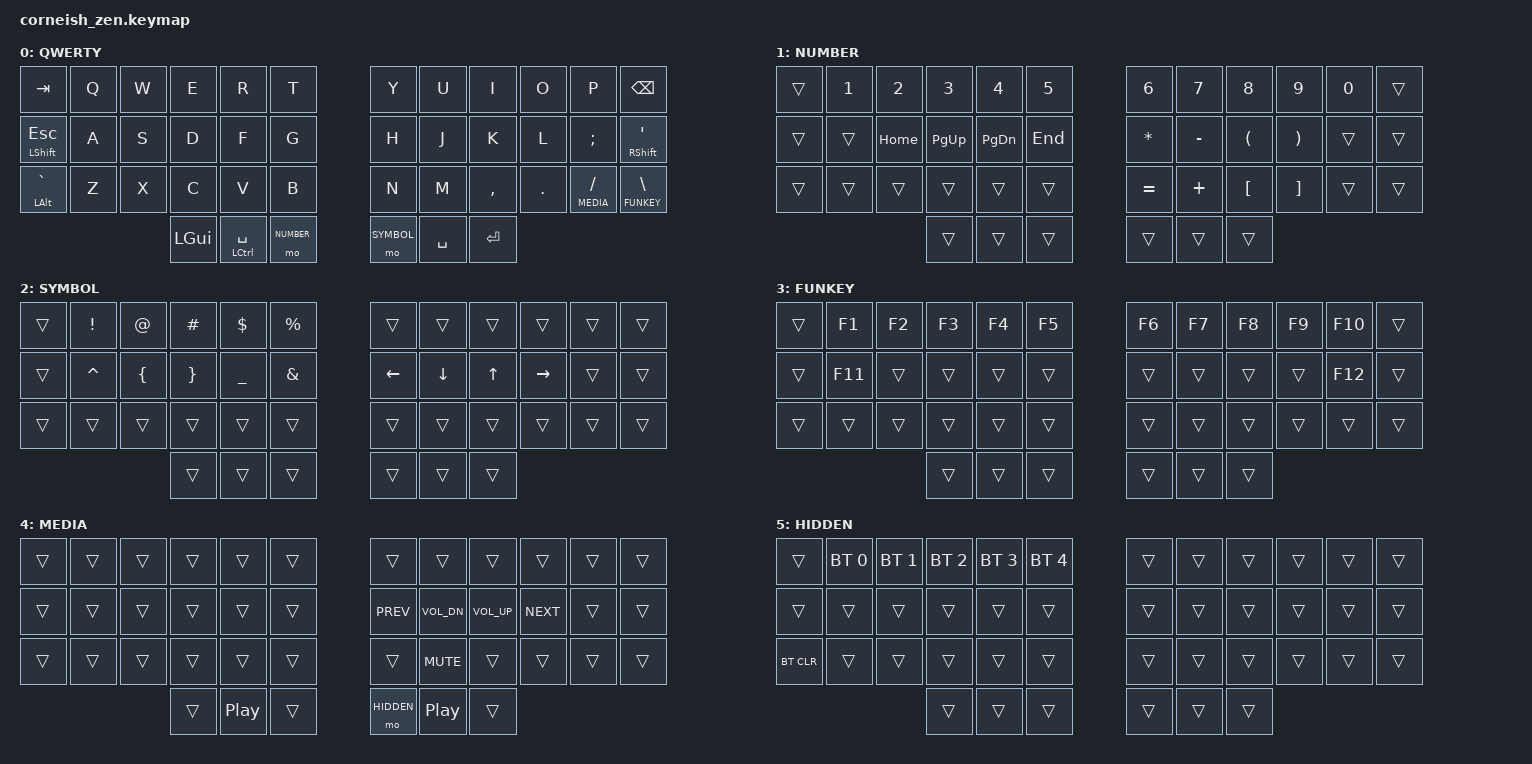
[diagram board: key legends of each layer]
#include <behaviors.dtsi>
#include <dt-bindings/zmk/keys.h>
#include <dt-bindings/zmk/bt.h>

#define QWERTY 0
#define NUMBER 1
#define SYMBOL 2
#define FUNKEY 3
#define MEDIA  4
#define HIDDEN 5

/ {
    chosen {
        zmk,physical-layout = &foostan_corne_6col_layout;
        // zmk,physical-layout = &foostan_corne_5col_layout;
    };
};

/ {
    keymap {
        compatible = "zmk,keymap";

/*
* ┌───────┬───┬───┬───┬───┬───┐       ┌───┬───┬───┬───┬───┬───────┐
* │  Tab  │ Q │ W │ E │ R │ T │       │ Y │ U │ I │ O │ P │  Bsp  │
* ├───────┼───┼───┼───┼───┼───┤       ├───┼───┼───┼───┼───┼───────┤
* │Esc|Sft│ A │ S │ D │ F │ G │       │ H │ J │ K │ L │ ; │ ' |Sft│
* ├───────┼───┼───┼───┼───┼───┤       ├───┼───┼───┼───┼───┼───────┤
* │ ` |Alt│ Z │ X │ C │ V │ B │       │ N │ M │ , │ . │ / │ \ |FUN│
* └───────┴───┴───┴───┴───┴───┘       └───┴───┴───┴───┴───┴───────┘
*             ┌───┬──────┬───┐   ┌───┬───┬───┐
*             │GUI│ |Ctrl│NUM│   │SYM│   │Alt│
*             └───┴──────┴───┘   └───┴───┴───┘
*/
        default_layer {
            display-name = "QWERTY";
            bindings = <
// ╭─────────────┬─────────────┬─────────────┬─────────────┬─────────────┬─────────────╮  ╭─────────────┬─────────────┬─────────────┬─────────────┬─────────────┬─────────────╮
     &kp TAB       &kp Q         &kp W         &kp E         &kp R         &kp T            &kp Y         &kp U         &kp I         &kp O         &kp P         &kp BSPC
// ├─────────────┼─────────────┼─────────────┼─────────────┼─────────────┼─────────────┤  ├─────────────┼─────────────┼─────────────┼─────────────┼─────────────┼─────────────┤
    &mt LSHFT ESC  &kp A         &kp S         &kp D         &kp F         &kp G            &kp H         &kp J         &kp K         &kp L         &kp SEMI     &mt RSHFT SQT
// ├─────────────┼─────────────┼─────────────┼─────────────┼─────────────┼─────────────┤  ├─────────────┼─────────────┤─────────────┼─────────────┤───── ; ─────┼───── ' ─────┤
    &mt LALT GRAV  &kp Z         &kp X         &kp C         &kp V         &kp B            &kp N         &kp M         &kp COMMA     &kp DOT     &lt MEDIA FSLH &lt FUNKEY BSLH
// ╰───── ` ─────┴─────────────┴─────────────┼─────────────┼─────────────┼─────────────┤  ├─────────────┼─────────────┴───── , ─────┴───── . ─────┴───── / ─────┴───── \ ─────╯
                                               &kp LGUI    &mt LCTRL SPACE &mo NUMBER       &mo SYMBOL    &kp SPACE     &kp ENTER
//                                           ╰─────────────┴─────────────┴─────────────╯  ╰─────────────┴─────────────┴─────────────╯
            >;
        };

        number_layer {
            display-name = "NUMBER";
            bindings = <
// ╭─────────────┬─────────────┬─────────────┬─────────────┬─────────────┬─────────────╮  ╭─────────────┬─────────────┬─────────────┬─────────────┬─────────────┬─────────────╮
     &trans        &kp N1        &kp N2        &kp N3        &kp N4        &kp N5           &kp N6        &kp N7        &kp N8        &kp N9        &kp N0        &trans
// ├─────────────┼─────────────┼─────────────┼─────────────┼─────────────┼─────────────┤  ├─────────────┼─────────────┼─────────────┼─────────────┼─────────────┼─────────────┤
     &trans        &trans        &kp HOME      &kp PG_UP     &kp PG_DN     &kp END          &kp ASTRK     &kp MINUS     &kp LPAR      &kp RPAR      &trans        &trans
// ├─────────────┼─────────────┼─────────────┼─────────────┼─────────────┼─────────────┤  ├───── * ─────┼───── - ─────┤───── ( ─────┼───── ) ─────┤─────────────┼─────────────┤
     &trans        &trans        &trans        &trans        &trans        &trans           &kp EQUAL     &kp PLUS      &kp LBKT      &kp RBKT      &trans        &trans
// ╰─────────────┴─────────────┴─────────────┼─────────────┼─────────────┼─────────────┤  ├───── = ──────┼──── + ─────┼───── [ ─────┼───── ] ─────┴─────────────┴─────────────╯
                                               &trans        &trans        &trans           &trans        &trans        &trans
//                                           ╰─────────────┴─────────────┴─────────────╯  ╰─────────────┴─────────────┴─────────────╯
            >;
        };

        symbol_layer {
            display-name = "SYMBOL";
            bindings = <
// ╭─────────────┬─────────────┬─────────────┬─────────────┬─────────────┬─────────────╮  ╭─────────────┬─────────────┬─────────────┬─────────────┬─────────────┬─────────────╮
     &trans        &kp EXCL      &kp AT        &kp HASH      &kp DLLR      &kp PRCNT        &trans        &trans        &trans        &trans        &trans        &trans
// ├─────────────┼───── ! ─────┼───── @ ─────┼───── # ─────┼───── $ ─────┼───── % ─────┤  ├─────────────┼─────────────┼─────────────┼─────────────┼─────────────┼─────────────┤
     &trans        &kp CARET     &kp LBRC      &kp RBRC      &kp UNDER     &kp AMPS         &kp LEFT      &kp DOWN      &kp UP        &kp RIGHT     &trans        &trans
// ├─────────────┼───── ^ ─────┼───── { ─────┼───── } ─────┼───── _ ─────┼───── & ─────┤  ├─────────────┼─────────────┤─────────────┼─────────────┤─────────────┼─────────────┤
     &trans        &trans        &trans        &trans        &trans        &trans           &trans        &trans        &trans        &trans        &trans        &trans
// ╰─────────────┴─────────────┴─────────────┼─────────────┼─────────────┼─────────────┤  ├─────────────┼─────────────┼─────────────┼─────────────┴─────────────┴─────────────╯
                                               &trans        &trans        &trans           &trans        &trans        &trans
//                                           ╰─────────────┴─────────────┴─────────────╯  ╰─────────────┴─────────────┴─────────────╯
            >;
        };

        funkey_layer {
            display-name = "FUNKEY";
            bindings = <
// ╭─────────────┬─────────────┬─────────────┬─────────────┬─────────────┬─────────────╮  ╭─────────────┬─────────────┬─────────────┬─────────────┬─────────────┬─────────────╮
     &trans        &kp F1        &kp F2        &kp F3        &kp F4        &kp F5           &kp F6        &kp F7        &kp F8        &kp F9        &kp F10       &trans
// ├─────────────┼─────────────┼─────────────┼─────────────┼─────────────┼─────────────┤  ├─────────────┼─────────────┼─────────────┼─────────────┼─────────────┼─────────────┤
     &trans        &kp F11       &trans        &trans        &trans        &trans           &trans        &trans        &trans        &trans        &kp F12       &trans
// ├─────────────┼─────────────┼─────────────┼─────────────┼─────────────┼─────────────┤  ├─────────────┼─────────────┼─────────────┼─────────────┤─────────────┼─────────────┤
     &trans        &trans        &trans        &trans        &trans        &trans           &trans        &trans        &trans        &trans        &trans        &trans
// ╰─────────────┴─────────────┴─────────────┼─────────────┼─────────────┼─────────────┤  ├─────────────┼─────────────┼─────────────┼─────────────┴─────────────┴─────────────╯
                                               &trans        &trans        &trans           &trans        &trans        &trans
//                                           ╰─────────────┴─────────────┴─────────────╯  ╰─────────────┴─────────────┴─────────────╯
            >;
        };

        media_layer {
            label = "MEDIA";
            bindings = <
// ╭─────────────┬─────────────┬─────────────┬─────────────┬─────────────┬─────────────╮  ╭─────────────┬─────────────┬─────────────┬─────────────┬─────────────┬─────────────╮
     &trans        &trans        &trans        &trans        &trans        &trans           &trans        &trans        &trans        &trans        &trans        &trans
// ├─────────────┼─────────────┼─────────────┼─────────────┼─────────────┼─────────────┤  ├─────────────┼─────────────┼─────────────┼─────────────┼─────────────┼─────────────┤
     &trans        &trans        &trans        &trans        &trans        &trans           &kp C_PREV    &kp C_VOL_DN  &kp C_VOL_UP  &kp C_NEXT    &trans        &trans
// ├─────────────┼─────────────┼─────────────┼─────────────┼─────────────┼─────────────┤  ├─────────────┼─────────────┤─────────────┼─────────────┤─────────────┼─────────────┤
     &trans        &trans        &trans        &trans        &trans        &trans           &trans        &kp K_MUTE    &trans        &trans        &trans        &trans
// ╰─────────────┴─────────────┴─────────────┼─────────────┼─────────────┼─────────────┤  ├─────────────┼─────────────┼─────────────┼─────────────┴─────────────┴─────────────╯
                                               &trans      &kp C_PLAY_PAUSE &trans          &mo HIDDEN  &kp C_PLAY_PAUSE &trans
//                                           ╰─────────────┴─────────────┴─────────────╯  ╰─────────────┴─────────────┴─────────────╯
            >;
        };

        hidden_layer {
            label = "HIDDEN";
            bindings = <
// ╭─────────────┬─────────────┬─────────────┬─────────────┬─────────────┬─────────────╮  ╭─────────────┬─────────────┬─────────────┬─────────────┬─────────────┬─────────────╮
     &trans        &bt BT_SEL 0  &bt BT_SEL 1  &bt BT_SEL 2  &bt BT_SEL 3  &bt BT_SEL 4     &trans        &trans        &trans        &trans        &trans        &trans
// ├─────────────┼─────────────┼─────────────┼─────────────┼─────────────┼─────────────┤  ├─────────────┼─────────────┼─────────────┼─────────────┼─────────────┼─────────────┤
     &trans        &trans        &trans        &trans        &trans        &trans           &trans        &trans        &trans        &trans        &trans        &trans
// ├─────────────┼─────────────┼─────────────┼─────────────┼─────────────┼─────────────┤  ├─────────────┼─────────────┤─────────────┼─────────────┤─────────────┼─────────────┤
     &bt BT_CLR    &trans        &trans        &trans        &trans        &trans           &trans        &trans        &trans        &trans        &trans        &trans
// ╰─────────────┴─────────────┴─────────────┼─────────────┼─────────────┼─────────────┤  ├─────────────┼─────────────┼─────────────┼─────────────┴─────────────┴─────────────╯
                                               &trans        &trans        &trans           &trans        &trans        &trans
//                                           ╰─────────────┴─────────────┴─────────────╯  ╰─────────────┴─────────────┴─────────────╯
            >;
        };
    };
};
